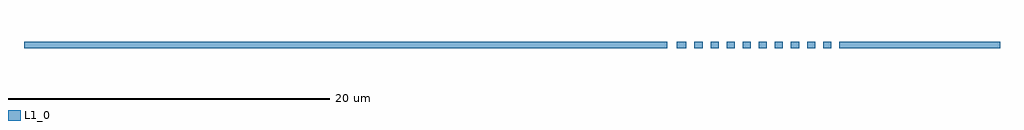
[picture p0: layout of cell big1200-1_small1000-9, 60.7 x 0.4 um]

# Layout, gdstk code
import gdstk
lib = gdstk.Library(unit=1e-6, precision=1e-09)
def R(c, l, rs):  # rectangles x0, y0, x1, y1
    for r in rs: c.add(gdstk.rectangle(r[:2], r[2:], *l))
def A(c, l, x, y, w, h, nx, ny, dx, dy):  # array of equal rectangles
    R(c, l, [(x+i*dx, y+j*dy, x+i*dx+w, y+j*dy+h) for i in range(nx) for j in range(ny)])
L1_0 = (1, 0)

big1200_1_small1000_9 = lib.new_cell('big1200-1_small1000-9')
A(big1200_1_small1000_9, L1_0, 1.7, 0, 0.5, 0.4, 9, 1, 1, 0)
R(big1200_1_small1000_9, L1_0, [(-40,0,0,0.4), (0.6,0,1.2,0.4), (10.7,0,20.7,0.4)])

lib.write_gds('big1200-1_small1000-9.gds')
